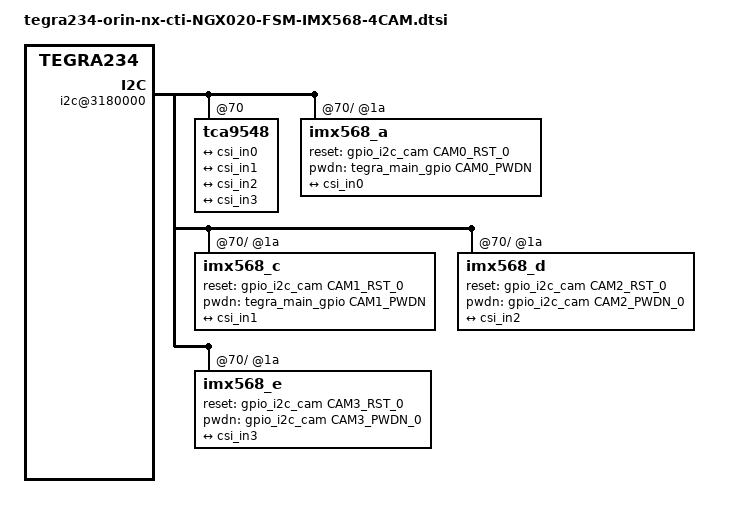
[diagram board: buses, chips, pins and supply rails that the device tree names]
/*
 * Copyright (c) 2023, Connect Tech Inc.  All rights reserved.
 *
 * This program is free software; you can redistribute it and/or modify it
 * under the terms and conditions of the GNU General Public License,
 * version 2, as published by the Free Software Foundation.
 *
 * This program is distributed in the hope it will be useful, but WITHOUT
 * ANY WARRANTY; without even the implied warranty of MERCHANTABILITY or
 * FITNESS FOR A PARTICULAR PURPOSE.  See the GNU General Public License for
 * more details.
 *
 * You should have received a copy of the GNU General Public License
 * along with this program.  If not, see <http://www.gnu.org/licenses/>.
 */

#include "tegra234-orin-nx-cti-NGX020-FSM-4CAM-base.dtsi"
#include "tegra234-cti-fsm-imx568-modes-header.dtsi"

#include "dt-bindings/clock/tegra234-clock.h"

#define PIX_CLK_HZ "237600000"
#define NUM_LANES "2"
#define BUS_WIDTH <2>

/ {
	i2c@3180000 {
		tca9548@70 {
			status = "okay";	
			i2c@0 {
					status = "okay";
					imx568_a@1a{
								status  = "okay";							
								devnode = "video0";
								
                                reset-gpios = <&gpio_i2c_cam CAM0_RST_0 GPIO_ACTIVE_HIGH>;
								pwdn-gpios = <&tegra_main_gpio CAM0_PWDN GPIO_ACTIVE_HIGH>;
                                
                                SENSOR_COMMON


#define TEGRA_SINTERFACE I2C0_SINTERFACE
#define LANE_POLARITY I2C0_LANEPOLARITY
                                
                                SENSOR_MODE0_2LANE
                                SENSOR_MODE1_2LANE
                                SENSOR_MODE2_2LANE
                                SENSOR_MODE3_2LANE
                                SENSOR_MODE4_2LANE
                                SENSOR_MODE5_2LANE
                                SENSOR_MODE6_2LANE
                                SENSOR_MODE7_2LANE


								ports {
									#address-cells = <1>;
									#size-cells = <0>;

									port@0 {
										reg = <0>;
										vi_out0: endpoint {
											port-index = VI_CSI_PORT_INDEX0;
											bus-width = BUS_WIDTH;
											remote-endpoint = <&csi_in0>;
										};
									};
								};
					};
				};
				i2c@1 {
					status = "okay";
					imx568_c@1a{
								status = "okay";
								devnode = "video2";
								
                                reset-gpios = <&gpio_i2c_cam CAM1_RST_0 GPIO_ACTIVE_HIGH>;
								pwdn-gpios = <&tegra_main_gpio CAM1_PWDN GPIO_ACTIVE_HIGH>;
								
                                SENSOR_COMMON

#undef TEGRA_SINTERFACE
#undef LANE_POLARITY
#define TEGRA_SINTERFACE I2C1_SINTERFACE
#define LANE_POLARITY I2C1_LANEPOLARITY
                                
                                SENSOR_MODE0_2LANE
                                SENSOR_MODE1_2LANE
                                SENSOR_MODE2_2LANE
                                SENSOR_MODE3_2LANE
                                SENSOR_MODE4_2LANE
                                SENSOR_MODE5_2LANE
                                SENSOR_MODE6_2LANE
                                SENSOR_MODE7_2LANE


								ports {
									#address-cells = <1>;
									#size-cells = <0>;

									port@0 {
										reg = <0>;
										vi_out1: endpoint {
											port-index = VI_CSI_PORT_INDEX1;
											bus-width = BUS_WIDTH;
											remote-endpoint = <&csi_in1>;
										};
									};
								};
							};
						};
				i2c@2 {
					status = "okay";
					imx568_d@1a{
								status = "okay";								
								devnode = "video4";

								reset-gpios = <&gpio_i2c_cam CAM2_RST_0 GPIO_ACTIVE_HIGH>;
								pwdn-gpios = <&gpio_i2c_cam CAM2_PWDN_0 GPIO_ACTIVE_HIGH>;
								
                                SENSOR_COMMON

#undef TEGRA_SINTERFACE
#undef LANE_POLARITY
#define TEGRA_SINTERFACE I2C2_SINTERFACE
#define LANE_POLARITY I2C2_LANEPOLARITY

                                SENSOR_MODE0_2LANE
                                SENSOR_MODE1_2LANE
                                SENSOR_MODE2_2LANE
                                SENSOR_MODE3_2LANE
                                SENSOR_MODE4_2LANE
                                SENSOR_MODE5_2LANE
                                SENSOR_MODE6_2LANE
                                SENSOR_MODE7_2LANE

								ports {
									#address-cells = <1>;
									#size-cells = <0>;

									port@0 {
										reg = <0>;
										vi_out2: endpoint {
											port-index = VI_CSI_PORT_INDEX1;
											bus-width = BUS_WIDTH;
											remote-endpoint = <&csi_in2>;
										};
									};
								};
							};
						};
				i2c@3 {
					status = "okay";
					imx568_e@1a{
								status = "okay";								
								devnode = "video6";

								reset-gpios = <&gpio_i2c_cam CAM3_RST_0 GPIO_ACTIVE_HIGH>;
								pwdn-gpios = <&gpio_i2c_cam CAM3_PWDN_0 GPIO_ACTIVE_HIGH>;
                                
                                SENSOR_COMMON

#undef TEGRA_SINTERFACE
#undef LANE_POLARITY
#define TEGRA_SINTERFACE I2C3_SINTERFACE
#define LANE_POLARITY I2C3_LANEPOLARITY


                                SENSOR_MODE0_2LANE
                                SENSOR_MODE1_2LANE
                                SENSOR_MODE2_2LANE
                                SENSOR_MODE3_2LANE
                                SENSOR_MODE4_2LANE
                                SENSOR_MODE5_2LANE
                                SENSOR_MODE6_2LANE
                                SENSOR_MODE7_2LANE

								ports {
									#address-cells = <1>;
									#size-cells = <0>;

									port@0 {
										reg = <0>;
										vi_out3: endpoint {
											port-index = VI_CSI_PORT_INDEX3;
											bus-width = BUS_WIDTH;
											remote-endpoint = <&csi_in3>;
										};
									};
								};
							};
						};
				};
				
			};

	tegra-camera-platform {
		modules {
			module0 {
				badge = "imx568_bottomleft_framos";
				position = "bottomleft";
				orientation = "1";
				status = "okay";
				drivernode0 {
					status = "okay";
					pcl_id = "v4l2_sensor";
					devname = "imx568 30-001a";
					proc-device-tree = "/proc/device-tree/i2c@3180000/tca9548@70/i2c@0/imx568_a@1a";
				};
			};
			module1 {
				badge = "imx568_centerright_framos";
				position = "centerright";
				orientation = "1";
				status = "okay";
				drivernode0 {
					status = "okay";
					pcl_id = "v4l2_sensor";
					devname = "imx568 31-001a";
					proc-device-tree = "/proc/device-tree/i2c@3180000/tca9548@70/i2c@1/imx568_c@1a";
				};
			};
			module2 {
				badge = "imx568_bottomright_framos";
				position = "bottomright";
				orientation = "1";
				status = "okay";
				drivernode0 {
					status = "okay";
					pcl_id = "v4l2_sensor";
					devname = "imx568 32-001a";
					proc-device-tree = "/proc/device-tree/i2c@3180000/tca9548@70/i2c@2/imx568_d@1a";
				};
			};
			module3 {
				badge = "imx568_topright_framos";
				position = "topright";
				orientation = "1";
				status = "okay";
				drivernode0 {
					status = "okay";
					pcl_id = "v4l2_sensor";
					devname = "imx568 33-001a";
					proc-device-tree = "/proc/device-tree/i2c@3180000/tca9548@70/i2c@3/imx568_e@1a";
				};
			};
		};
	};
};
